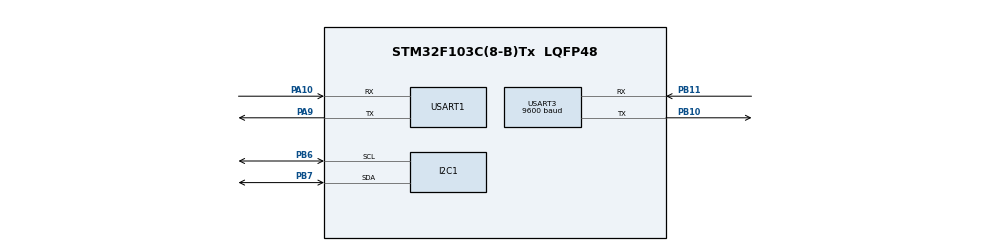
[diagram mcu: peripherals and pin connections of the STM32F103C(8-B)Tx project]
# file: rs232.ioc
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Mcu.Family=STM32F1
Mcu.Name=STM32F103C(8-B)Tx
Mcu.Package=LQFP48
NVIC.PriorityGroup=NVIC_PRIORITYGROUP_4
NVIC.USART1_IRQn=true\:0\:0\:false\:false\:true\:true\:true\:true
NVIC.USART3_IRQn=true\:0\:0\:false\:false\:true\:true\:true\:true
PA10.Mode=Asynchronous
PA10.Signal=USART1_RX
PA13.Mode=Serial_Wire
PA13.Signal=SYS_JTMS-SWDIO
PA14.Mode=Serial_Wire
PA14.Signal=SYS_JTCK-SWCLK
PA9.Mode=Asynchronous
PA9.Signal=USART1_TX
PB10.Mode=Asynchronous
PB10.Signal=USART3_TX
PB11.Mode=Asynchronous
PB11.Signal=USART3_RX
PB6.Mode=I2C
PB6.Signal=I2C1_SCL
PB7.Mode=I2C
PB7.Signal=I2C1_SDA
ProjectManager.HeapSize=0x200
ProjectManager.StackSize=0x400
ProjectManager.TargetToolchain=STM32CubeIDE
RCC.APB1Freq_Value=8000000
RCC.APB2Freq_Value=8000000
USART1.VirtualMode=VM_ASYNC
USART3.BaudRate=9600
USART3.VirtualMode=VM_ASYNC
VP_RTC_VS_RTC_Activate.Mode=RTC_Enabled
board=custom

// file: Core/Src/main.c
/* USER CODE BEGIN Header */
/**
  ******************************************************************************
  * @file           : main.c
  * @brief          : Main program body
  ******************************************************************************
  * @attention
  *
  * Copyright (c) 2025 STMicroelectronics.
  * All rights reserved.
  *
  * This software is licensed under terms that can be found in the LICENSE file
  * in the root directory of this software component.
  * If no LICENSE file comes with this software, it is provided AS-IS.
  *
  ******************************************************************************
  */
/* USER CODE END Header */
#include "main.h"

/* USER CODE BEGIN Includes */
#include "rs232_dte.h"
#include "rs232_dce.h"
#include "i2c-lcd.h"
/* USER CODE END Includes */

I2C_HandleTypeDef hi2c1;

RTC_HandleTypeDef hrtc;

UART_HandleTypeDef huart1;
UART_HandleTypeDef huart3;

void SystemClock_Config(void);
static void MX_GPIO_Init(void);
static void MX_USART1_UART_Init(void);
static void MX_RTC_Init(void);
static void MX_I2C1_Init(void);
static void MX_USART3_UART_Init(void);
/* USER CODE BEGIN PFP */
uint8_t data[20]="dte-hellow";
//uint8_t data[20];
uint8_t rec[20];
uint8_t i=0;
uint8_t st=0;
uint32_t time=0;
/* USER CODE END PFP */

int main(void)
{

  /* MCU Configuration--------------------------------------------------------*/

  /* Reset of all peripherals, Initializes the Flash interface and the Systick. */
  HAL_Init();

  /* Configure the system clock */
  SystemClock_Config();

  /* Initialize all configured peripherals */
  MX_GPIO_Init();
  MX_USART1_UART_Init();
  MX_RTC_Init();
  MX_I2C1_Init();
  MX_USART3_UART_Init();
  /* USER CODE BEGIN 2 */
  lcd_init();
  intRS232_DTE();
//  intRS232_DCE();

  /* USER CODE END 2 */

  /* Infinite loop */
  while (1)
  {

    /* USER CODE BEGIN 3 */
//	  Transmit_dce(data, rec, time);
//	  Receive_dte(data, rec, st, time);
	  	  	  	//------------------dte
				HAL_GPIO_WritePin(DTR_GPIO_Port, DTR_Pin, 1);
				time=HAL_GetTick();
				while ( ((HAL_GetTick()-time)<10) && (i==0) ){
				i=HAL_GPIO_ReadPin(DSR_GPIO_Port, DSR_Pin);}//while
				if (i==1) {//if1
				i=HAL_GPIO_ReadPin(DCD_GPIO_Port, DCD_Pin);
				if (i==1){//if2
				HAL_UART_Receive_IT(&huart1, rec, 2);
				time=HAL_GetTick();
				while ( ((HAL_GetTick()-time)<10) && (i=!0) )
				{i=HAL_GPIO_ReadPin(DCD_GPIO_Port, DCD_Pin);}
				if (i==0){//if2
				HAL_GPIO_WritePin(RTS_GPIO_Port, RTS_Pin, 1);
				time=HAL_GetTick();
				while ( ((HAL_GetTick()-time)<10) && (i==0) )
				{i=HAL_GPIO_ReadPin(CTS_GPIO_Port, CTS_Pin);}
				if (i==1){//if3
				HAL_UART_Transmit_IT(&huart1, data, 11);
				HAL_GPIO_WritePin(RTS_GPIO_Port, RTS_Pin, 0);
				time=HAL_GetTick();
				while ( ((HAL_GetTick()-time)<10) && (i!=0) )	i=HAL_GPIO_ReadPin(CTS_GPIO_Port, CTS_Pin);
				if (i==0){//if4
				i=HAL_GPIO_ReadPin(DCD_GPIO_Port, DCD_Pin);
				if (i==0){//if5
				HAL_GPIO_WritePin(DTR_GPIO_Port, DTR_Pin, 0);
				time=HAL_GetTick();i=1;
				while ( ((HAL_GetTick()-time)<10) && (i!=0) ) i=HAL_GPIO_ReadPin(DSR_GPIO_Port, DSR_Pin);
				if (i==0) {
					st=1 ;
					lcd_put_cur(0,0);
					lcd_send_string(rec);
				}//if6
				}//if6
				}//if5
				}//if4
				}//if3
				}//if2
				}//if1
				//-----------dte*/

				//----------dce
				/*HAL_UART_Receive_IT(&huart3, data, 1);
				time=HAL_GetTick();
				while ( ((HAL_GetTick()-time)<10) && (i==0) )	i=HAL_GPIO_ReadPin(DTR_GPIO_Port, DTR_Pin);
				if (i==1) {
				HAL_GPIO_WritePin(DSR_GPIO_Port, DSR_Pin, 1);
				HAL_GPIO_WritePin(DCD_GPIO_Port, DCD_Pin, 1);
				HAL_Delay(10);
				HAL_UART_Transmit_IT(&huart1, data, 2);
				HAL_GPIO_WritePin(DCD_GPIO_Port, DCD_Pin, 0);
				time=HAL_GetTick();i=0;
				while ( ((HAL_GetTick()-time)<10) && (i==0) )	i=HAL_GPIO_ReadPin(RTS_GPIO_Port, RTS_Pin);
				if (i==1){
				HAL_GPIO_WritePin(CTS_GPIO_Port, CTS_Pin, 1);

				HAL_UART_Receive_IT(&huart1, rec, 11);
				time=HAL_GetTick();
				while ( ((HAL_GetTick()-time)<10) && (i!=0) )	i=HAL_GPIO_ReadPin(RTS_GPIO_Port, RTS_Pin);
				if(i==0){
				HAL_GPIO_WritePin(CTS_GPIO_Port, CTS_Pin, 0);
				HAL_GPIO_WritePin(DCD_GPIO_Port, DCD_Pin, 0);
				time=HAL_GetTick();i=1;
				while ( ((HAL_GetTick()-time)<10) && (i==0) )	i=HAL_GPIO_ReadPin(DTR_GPIO_Port, DTR_Pin);
				if (i==0){//IF4
				HAL_GPIO_WritePin(DSR_GPIO_Port, DSR_Pin, 0);
				}//IF4

				}//if3
				}//if2
				}//if1
//				HAL_Delay(500);
				//---------dce*/
  }
  /* USER CODE END 3 */
}

void SystemClock_Config(void)
{
  RCC_OscInitTypeDef RCC_OscInitStruct = {0};
  RCC_ClkInitTypeDef RCC_ClkInitStruct = {0};
  RCC_PeriphCLKInitTypeDef PeriphClkInit = {0};

  /** Initializes the RCC Oscillators according to the specified parameters
  * in the RCC_OscInitTypeDef structure.
  */
  RCC_OscInitStruct.OscillatorType = RCC_OSCILLATORTYPE_HSI|RCC_OSCILLATORTYPE_LSI;
  RCC_OscInitStruct.HSIState = RCC_HSI_ON;
  RCC_OscInitStruct.HSICalibrationValue = RCC_HSICALIBRATION_DEFAULT;
  RCC_OscInitStruct.LSIState = RCC_LSI_ON;
  RCC_OscInitStruct.PLL.PLLState = RCC_PLL_NONE;
  if (HAL_RCC_OscConfig(&RCC_OscInitStruct) != HAL_OK)
  {
    Error_Handler();
  }

  /** Initializes the CPU, AHB and APB buses clocks
  */
  RCC_ClkInitStruct.ClockType = RCC_CLOCKTYPE_HCLK|RCC_CLOCKTYPE_SYSCLK
                              |RCC_CLOCKTYPE_PCLK1|RCC_CLOCKTYPE_PCLK2;
  RCC_ClkInitStruct.SYSCLKSource = RCC_SYSCLKSOURCE_HSI;
  RCC_ClkInitStruct.AHBCLKDivider = RCC_SYSCLK_DIV1;
  RCC_ClkInitStruct.APB1CLKDivider = RCC_HCLK_DIV1;
  RCC_ClkInitStruct.APB2CLKDivider = RCC_HCLK_DIV1;

  if (HAL_RCC_ClockConfig(&RCC_ClkInitStruct, FLASH_LATENCY_0) != HAL_OK)
  {
    Error_Handler();
  }
  PeriphClkInit.PeriphClockSelection = RCC_PERIPHCLK_RTC;
  PeriphClkInit.RTCClockSelection = RCC_RTCCLKSOURCE_LSI;
  if (HAL_RCCEx_PeriphCLKConfig(&PeriphClkInit) != HAL_OK)
  {
    Error_Handler();
  }
}

static void MX_I2C1_Init(void)
{

  hi2c1.Instance = I2C1;
  hi2c1.Init.ClockSpeed = 100000;
  hi2c1.Init.DutyCycle = I2C_DUTYCYCLE_2;
  hi2c1.Init.OwnAddress1 = 0;
  hi2c1.Init.AddressingMode = I2C_ADDRESSINGMODE_7BIT;
  hi2c1.Init.DualAddressMode = I2C_DUALADDRESS_DISABLE;
  hi2c1.Init.OwnAddress2 = 0;
  hi2c1.Init.GeneralCallMode = I2C_GENERALCALL_DISABLE;
  hi2c1.Init.NoStretchMode = I2C_NOSTRETCH_DISABLE;
  if (HAL_I2C_Init(&hi2c1) != HAL_OK)
  {
    Error_Handler();
  }

}

static void MX_RTC_Init(void)
{

  /** Initialize RTC Only
  */
  hrtc.Instance = RTC;
  hrtc.Init.AsynchPrediv = RTC_AUTO_1_SECOND;
  hrtc.Init.OutPut = RTC_OUTPUTSOURCE_ALARM;
  if (HAL_RTC_Init(&hrtc) != HAL_OK)
  {
    Error_Handler();
  }

}

static void MX_USART1_UART_Init(void)
{

  huart1.Instance = USART1;
  huart1.Init.BaudRate = 115200;
  huart1.Init.WordLength = UART_WORDLENGTH_8B;
  huart1.Init.StopBits = UART_STOPBITS_1;
  huart1.Init.Parity = UART_PARITY_NONE;
  huart1.Init.Mode = UART_MODE_TX_RX;
  huart1.Init.HwFlowCtl = UART_HWCONTROL_NONE;
  huart1.Init.OverSampling = UART_OVERSAMPLING_16;
  if (HAL_UART_Init(&huart1) != HAL_OK)
  {
    Error_Handler();
  }

}

static void MX_USART3_UART_Init(void)
{

  huart3.Instance = USART3;
  huart3.Init.BaudRate = 9600;
  huart3.Init.WordLength = UART_WORDLENGTH_8B;
  huart3.Init.StopBits = UART_STOPBITS_1;
  huart3.Init.Parity = UART_PARITY_NONE;
  huart3.Init.Mode = UART_MODE_TX_RX;
  huart3.Init.HwFlowCtl = UART_HWCONTROL_NONE;
  huart3.Init.OverSampling = UART_OVERSAMPLING_16;
  if (HAL_UART_Init(&huart3) != HAL_OK)
  {
    Error_Handler();
  }

}

static void MX_GPIO_Init(void)
{

  /* GPIO Ports Clock Enable */
  __HAL_RCC_GPIOB_CLK_ENABLE();
  __HAL_RCC_GPIOA_CLK_ENABLE();

}

void Error_Handler(void)
{
  __disable_irq();
  while (1)
  {
  }
}
